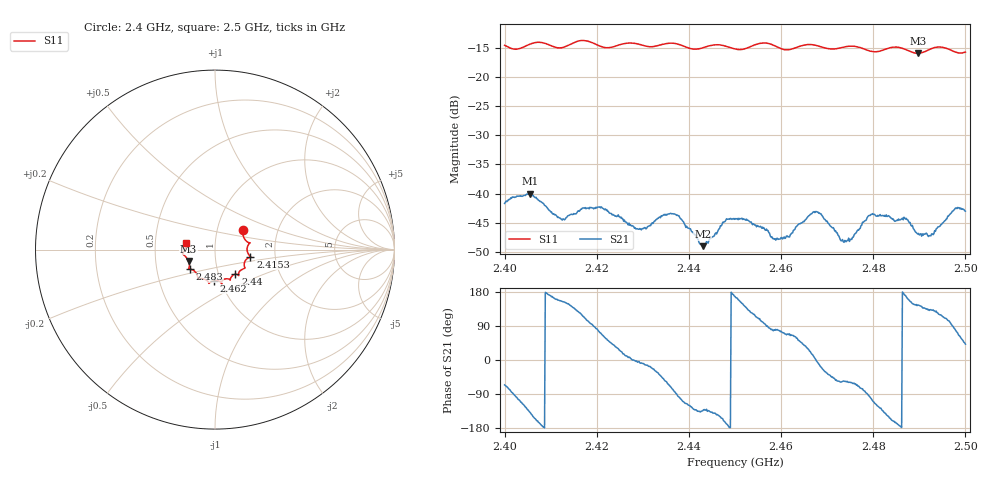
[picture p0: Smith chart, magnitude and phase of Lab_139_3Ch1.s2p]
# Hz S RI R 50
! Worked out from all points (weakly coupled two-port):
!   601 points, 2.4 GHz to 2.5 GHz, reference 50 ohm
!   highest |S21| = -40.04 dB at 2.4055 GHz (marker M1); lowest = -49.0 dB at 2.443 GHz (marker M2)
!   lowest |S11| = -15.9 dB at 2.4897 GHz (marker M3), VSWR 1.38, Z = 36.9 - j4.79 ohm
!   |S11| at or under -10 dB: start of sweep to end of sweep
!   S12 and S22 are empty: the file has one direction only
!   S11 on the Smith chart (normalised r, x): 2.4 GHz: 1.33, +0.29; 2.4153 GHz: 1.48, -0.12; 2.44 GHz: 1.20, -0.34; 2.462 GHz: 0.93, -0.33; 2.483 GHz: 0.74, -0.17; 2.5 GHz: 0.72, +0.06
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2.4e9  0.1553 0.1065  0.00338 -0.0075  0 0  0 0
2.4055e9  0.1883 0.039  -0.00739 -0.00667  0 0  0 0
2.412e9  0.1787 -0.000396  -0.00565 0.00249  0 0  0 0
2.415333e9  0.1968 -0.0386  -0.00468 0.00481  0 0  0 0
2.416667e9  0.2024 -0.0428  -0.0037 0.00633  0 0  0 0
2.421e9  0.175 -0.0541  0.00277 0.00717  0 0  0 0
2.429167e9  0.1603 -0.1058  0.00493 -0.000336  0 0  0 0
2.433333e9  0.1313 -0.1336  0.00506 -0.00344  0 0  0 0
2.437e9  0.132 -0.1437  0.00059 -0.00661  0 0  0 0
2.44e9  0.1138 -0.1368  -0.00248 -0.00438  0 0  0 0
2.443e9  0.0893 -0.1552  -0.00245 -0.00255  0 0  0 0
2.45e9  0.0648 -0.1626  -0.00596 0.00131  0 0  0 0
2.4585e9  0.0342 -0.1842  0.00071 0.004  0 0  0 0
2.462e9  -0.00529 -0.1733  0.0019 0.00399  0 0  0 0
2.466667e9  -0.0341 -0.1876  0.00646 0.00182  0 0  0 0
2.474e9  -0.0875 -0.1606  0.00215 -0.00321  0 0  0 0
2.479333e9  -0.1052 -0.1304  -0.000922 -0.00642  0 0  0 0
2.483e9  -0.1378 -0.1096  -0.00526 -0.00355  0 0  0 0
2.483333e9  -0.1403 -0.1094  -0.00554 -0.00333  0 0  0 0
2.489667e9  -0.1475 -0.0633  -0.00367 0.00258  0 0  0 0
2.4925e9  -0.1725 -0.0308  -0.00294 0.00319  0 0  0 0
2.5e9  -0.1597 0.0392  0.00525 0.00471  0 0  0 0
